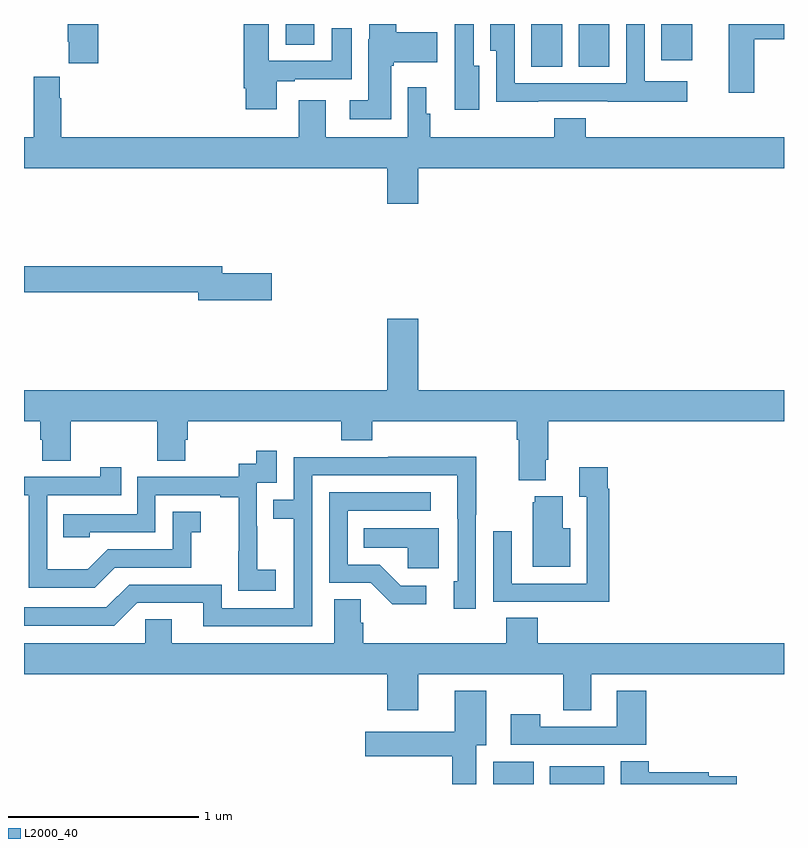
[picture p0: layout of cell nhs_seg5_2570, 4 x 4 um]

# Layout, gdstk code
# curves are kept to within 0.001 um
import gdstk
lib = gdstk.Library(unit=1e-6, precision=1e-09)
def R(c, l, rs):  # rectangles x0, y0, x1, y1
    for r in rs: c.add(gdstk.rectangle(r[:2], r[2:], *l))
def P(c, l, *ps):  # polygons
    for p in ps: c.add(gdstk.Polygon(p, *l))
L2000_40 = (2000, 40)

nhs_seg5_2570 = lib.new_cell('nhs_seg5_2570')
R(nhs_seg5_2570, L2000_40, [(261.47,906.799,261.682,906.916), (261.767,906.799,262.054,906.892), (261.671,910.573,261.832,910.799), (261.92,910.573,262.081,910.799), (262.355,910.608,262.516,910.799), (260.378,910.69,260.527,910.799)])
P(nhs_seg5_2570, L2000_40, [(261.397,910.579),(261.367,910.579),(261.367,910.799),(261.266,910.799),(261.266,910.347),(261.397,910.347)],
  [(261.707,910.392),(262.073,910.392),(262.073,910.391),(262.492,910.391),(262.492,910.498),(262.266,910.498),(262.266,910.799),(262.17,910.799),(262.17,910.488),(261.582,910.488),(261.582,910.799),(261.455,910.799),(261.455,910.657),(261.486,910.657),(261.486,910.391),(261.707,910.391)],
  [(259.391,910.799),(259.231,910.799),(259.231,910.705),(259.235,910.705),(259.235,910.593),(259.391,910.593)],
  [(260.329,910.497),(260.425,910.497),(260.425,910.509),(260.725,910.509),(260.725,910.777),(260.621,910.777),(260.621,910.605),(260.287,910.605),(260.287,910.799),(260.156,910.799),(260.156,910.462),(260.168,910.462),(260.168,910.35),(260.329,910.35)],
  [(262.844,910.72),(263,910.72),(263,910.799),(262.709,910.799),(262.709,910.437),(262.844,910.437)],
  [(260.932,910.578),(260.946,910.578),(260.946,910.598),(261.175,910.598),(261.175,910.756),(260.958,910.756),(260.958,910.799),(260.817,910.799),(260.817,910.718),(260.813,910.718),(260.813,910.399),(260.715,910.399),(260.715,910.298),(260.932,910.298)],
  [(263,910.204),(261.956,910.204),(261.956,910.303),(261.791,910.303),(261.791,910.204),(261.137,910.204),(261.137,910.326),(261.118,910.326),(261.118,910.465),(261.021,910.465),(261.021,910.204),(260.587,910.204),(260.587,910.399),(260.447,910.399),(260.447,910.204),(259.196,910.204),(259.196,910.409),(259.189,910.409),(259.189,910.522),(259.052,910.522),(259.052,910.204),(259,910.204),(259,910.04),(260.912,910.04),(260.912,909.852),(261.076,909.852),(261.076,910.04),(263,910.04)],
  [(260.305,909.488),(260.044,909.488),(260.044,909.524),(259,909.524),(259,909.388),(259.916,909.388),(259.916,909.346),(260.305,909.346)],
  [(261.745,908.506),(261.758,908.506),(261.758,908.708),(263,908.708),(263,908.872),(261.076,908.872),(261.076,909.247),(260.912,909.247),(260.912,908.872),(259,908.872),(259,908.708),(259.085,908.708),(259.085,908.61),(259.097,908.61),(259.097,908.5),(259.245,908.5),(259.245,908.708),(259.702,908.708),(259.702,908.5),(259.849,908.5),(259.849,908.61),(259.862,908.61),(259.862,908.708),(260.669,908.708),(260.669,908.609),(260.834,908.609),(260.834,908.708),(261.593,908.708),(261.593,908.612),(261.605,908.612),(261.605,908.399),(261.745,908.399)],
  [(260.326,907.927),(260.228,907.927),(260.228,908.156),(260.226,908.156),(260.226,908.385),(260.331,908.385),(260.331,908.554),(260.223,908.554),(260.223,908.484),(260.13,908.484),(260.13,908.415),(259.596,908.415),(259.596,908.22),(259.207,908.22),(259.207,908.097),(259.347,908.097),(259.347,908.124),(259.692,908.124),(259.692,908.319),(260.033,908.319),(260.033,908.307),(260.129,908.307),(260.129,908.023),(260.128,908.023),(260.128,907.817),(260.326,907.817)],
  [(260.517,908.424),(261.281,908.424),(261.282,907.866),(261.263,907.866),(261.263,907.722),(261.378,907.722),(261.378,908.215),(261.381,908.215),(261.381,908.522),(260.917,908.522),(260.917,908.52),(260.421,908.52),(260.421,908.295),(260.311,908.295),(260.311,908.194),(260.421,908.194),(260.421,907.725),(260.04,907.725),(260.04,907.848),(259.554,907.848),(259.434,907.728),(259,907.728),(259,907.632),(259.476,907.632),(259.596,907.752),(259.943,907.752),(259.943,907.629),(260.517,907.629)],
  [(262.079,908.354),(262.072,908.354),(262.072,908.467),(261.923,908.467),(261.923,908.311),(261.963,908.311),(261.963,907.854),(261.567,907.854),(261.567,908.128),(261.471,908.128),(261.471,907.758),(261.787,907.758),(261.787,907.757),(262.079,907.757)],
  [(259.477,907.938),(259.881,907.938),(259.881,908.123),(259.93,908.123),(259.93,908.233),(259.782,908.233),(259.782,908.034),(259.44,908.034),(259.336,907.93),(259.122,907.93),(259.122,908.319),(259.511,908.319),(259.511,908.467),(259.4,908.467),(259.4,908.415),(259,908.415),(259,908.319),(259.026,908.319),(259.026,907.833),(259.372,907.833)],
  [(261.118,907.842),(260.983,907.842),(260.872,907.953),(260.703,907.953),(260.703,908.238),(261.142,908.238),(261.142,908.334),(260.607,908.334),(260.607,907.857),(260.826,907.857),(260.939,907.745),(261.118,907.745)],
  [(261.874,908.146),(261.835,908.146),(261.835,908.314),(261.689,908.314),(261.689,908.283),(261.677,908.283),(261.677,907.943),(261.874,907.943)],
  [(261.184,908.146),(260.788,908.146),(260.788,908.042),(261.019,908.042),(261.019,907.934),(261.184,907.934)],
  [(261.985,907.376),(263,907.376),(263,907.54),(261.704,907.54),(261.704,907.673),(261.539,907.673),(261.539,907.54),(260.786,907.54),(260.786,907.649),(260.772,907.649),(260.772,907.772),(260.633,907.772),(260.633,907.54),(259.777,907.54),(259.777,907.667),(259.638,907.667),(259.638,907.54),(259,907.54),(259,907.376),(260.912,907.376),(260.912,907.188),(261.076,907.188),(261.076,907.376),(261.838,907.376),(261.838,907.186),(261.985,907.186)],
  [(261.379,907.004),(261.433,907.004),(261.433,907.291),(261.266,907.291),(261.266,907.075),(260.796,907.075),(260.796,906.946),(261.254,906.946),(261.254,906.799),(261.379,906.799)],
  [(262.274,907.291),(262.121,907.291),(262.121,907.101),(261.717,907.101),(261.717,907.165),(261.561,907.165),(261.561,907.005),(262.274,907.005)],
  [(262.751,906.84),(262.604,906.84),(262.604,906.86),(262.289,906.86),(262.289,906.92),(262.142,906.92),(262.142,906.799),(262.751,906.799)])

lib.write_gds('nhs_seg5_2570.gds')
